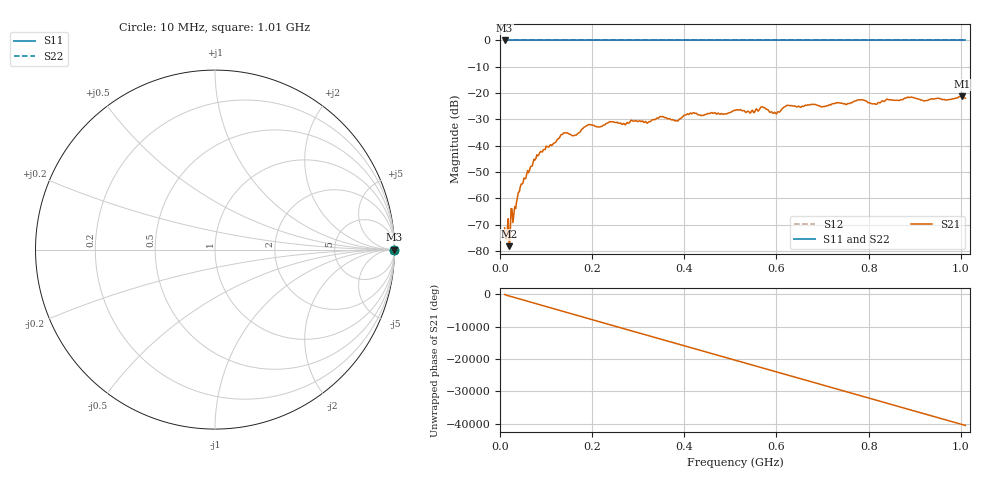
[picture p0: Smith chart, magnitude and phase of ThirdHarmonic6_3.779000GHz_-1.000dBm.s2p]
! 8/17/2025 1:01:35 PM
! C:\ANRITSUVNA\TEMP\TEMP.S2P
! CHANNEL.1
! TR.MEASUREMENT
! RAW.DATA
! RF.CORRECTION.OFF
! AVERAGING.OFF
! IF.BANDWIDTH: 5KHZ
! SWEEPTYPE:  FREQ.SWEEP(Linear)
! Reference Plane Port Info
! PORT:  PORT1  PORT2
! DISTANCE:  0  m  0  m
! TIME:  0  s  0  s
! PHASE.OFFSET:  0  deg.  0  deg.
! LOSS:  0  dB  0  dB
! REF.LOSS:  0  dB  0  dB
! REF.FREQ:  0  Hz  0  Hz
! Power Info
! POWER:  -20  dBm  -20  dBm
! EFF.POWER:  -20  dBm  -20  dBm
! SOURCE.ATTEN:  0  dB  0  dB
! TEST.ATTEN:  0  dB  0  dB
# GHZ S RI R 50.0
! FREQ.GHZ  S11RE  S11IM  S21RE  S21IM  S12RE  S12IM  S22RE  S22IM
!; PortSelection: Port_12
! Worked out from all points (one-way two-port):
!   501 points, 10 MHz to 1.01 GHz, reference 50 ohm
!   highest |S21| = -21.22 dB at 1.002 GHz (marker M1); lowest = -78.1 dB at 20 MHz (marker M2)
!   lowest |S11| = 0.0 dB at 10 MHz (marker M3)
!   |S11| at or under -10 dB: nowhere
!   |S22| runs from 0.0 to 0.0 dB; largest |S21 - S12| = 1.1
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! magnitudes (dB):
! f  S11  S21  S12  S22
! 10 MHz  0.0  -71.2  0.0  0.0
! 18 MHz  0.0  -67.7  0.0  0.0
! 20 MHz  0.0  -78.1  0.0  0.0
! 24 MHz  0.0  -63.8  0.0  0.0
! 28 MHz  0.0  -69.2  0.0  0.0
! 32 MHz  0.0  -63.1  0.0  0.0
! 44 MHz  0.0  -55.6  0.0  0.0
! 78 MHz  0.0  -44.8  0.0  0.0
! 136 MHz  0.0  -35.7  0.0  0.0
! 162 MHz  0.0  -36.0  0.0  0.0
! 178 MHz  0.0  -33.6  0.0  0.0
! 344 MHz  0.0  -29.5  0.0  0.0
! 382 MHz  0.0  -30.4  0.0  0.0
! 416 MHz  0.0  -27.9  0.0  0.0
! 510 MHz  0.0  -26.6  0.0  0.0
! 570 MHz  0.0  -25.3  0.0  0.0
! 596 MHz  0.0  -27.3  0.0  0.0
! 624 MHz  0.0  -24.7  0.0  0.0
! 678 MHz  0.0  -24.4  0.0  0.0
! 844 MHz  0.0  -22.5  0.0  0.0
! 1.002 GHz  0.0  -21.2  0.0  0.0
! 1.01 GHz  0.0  -22.0  0.0  0.0
